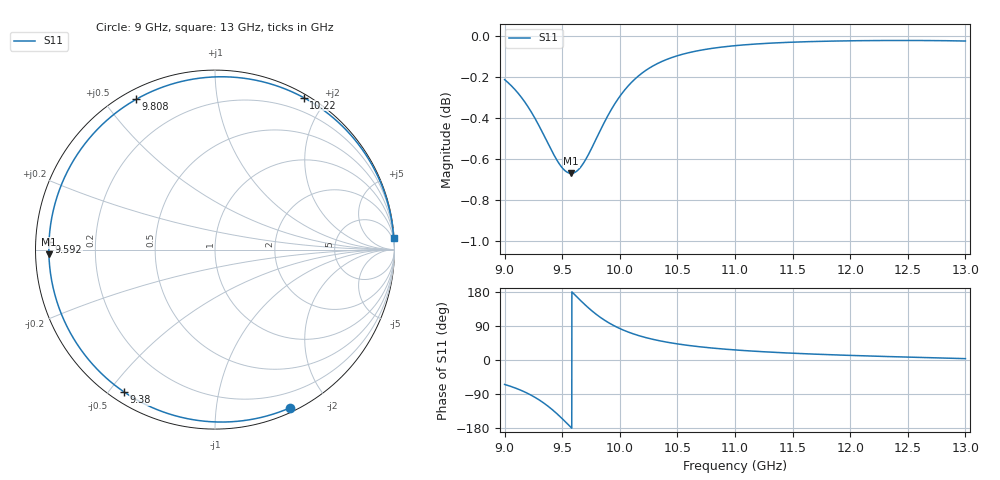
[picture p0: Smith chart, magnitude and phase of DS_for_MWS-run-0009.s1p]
! TOUCHSTONE file generated by CST DESIGN STUDIO
! Date and time: Tue Feb  4 12:53:58 2025
! Project name: C:\Work\MatlabApps\UnitCellOptimizationMatlab\CST\unitcell.cst
! Tree item: Tasks\Sweep1\SPara1\S-Parameters
! Header version: 2024
! Port assignment regex: !\s*Touchstone port\s*([0-9]+)\s*=\s*(CST MWS port|CST DES external port|CST DES block port)\s*(.+)\s* \(\"(.*)\"\)(\s*mode\s*([0-9]+))?.*
! Touchstone port assignment:
! Touchstone port 1 = CST DES external port 1 ("")
# GHz S MA R 50
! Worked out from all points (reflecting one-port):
!   4001 points, 9 GHz to 13 GHz, reference 50 ohm
!   lowest |S11| = -0.7 dB at 9.578 GHz (marker M1), VSWR 25.97, Z = 1.93 - j0.717 ohm
!   phase of S11 starts at -64 deg and turns -292 deg over the sweep
!   S11 on the Smith chart (normalised r, x): 9 GHz: 0.04, -1.59; 9.38 GHz: 0.04, -0.55; 9.592 GHz: 0.04, +0.02; 9.808 GHz: 0.04, +0.60; 10.22 GHz: 0.04, +1.74; 13 GHz: 2, +32
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9  0.9757 -64.5
9.046  0.9731 -68.9
9.114  0.9686 -76.4
9.231  0.9583 -93.0
9.31  0.9495 -107.3
9.38  0.9411 -122.7
9.439  0.9343 -137.6
9.5  0.9287 -154.8
9.54  0.9266 -166.7
9.578  0.9258 -178.4
9.592  0.9259 177.3
9.647  0.9282 160.6
9.708  0.9335 142.9
9.758  0.9393 129.6
9.808  0.9455 117.6
9.85  0.9508 108.6
9.895  0.9561 99.8
10  0.9666 83.0
10.104  0.9744 70.4
10.218  0.9804 59.7
10.348  0.9852 50.6
10.5  0.9889 42.5
10.72  0.9921 34.0
11  0.9944 26.6
11.5  0.9964 17.9
12  0.9972 12.1
12.5  0.9973 7.6
13  0.997 3.6
